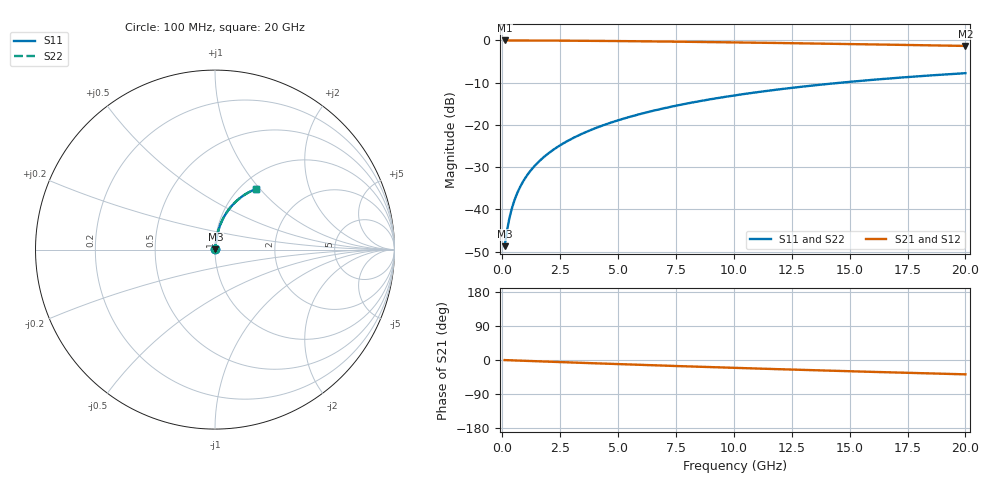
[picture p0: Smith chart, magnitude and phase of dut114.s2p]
! Touchstone file exported from HFSS 2024.1.0
!  File:  C:/UserFiles/LocalFiles/RDL_TSV_Batchsim/temp_RDL_top_114_1778683770.aedt
!  Generated:  10:51:35 PM May 13, 2026
!  Design:  RDL_top
!  Project:  temp_RDL_top_114_1778683770
!  Setup:  Setup1
!  Solution:  Sweep
! Variables:
!  dtsv = 10.80580581um
!  hbump = 3um
!  htsv = 86.73um
!  ldown = 100um
!  lrdl = 504.67um
!  p = 40
!  p1 = 47.87um
!  rhole = 1um
!  t = 450um
!  tdown = 3.915915916um
!  trdl = 4.8um
!  wdown = 15.38538539um
!  wrdl = 13.82um
# GHz S MA R 50.000000
! Terminal data exported
! Port[1] = Box2_T1
! Port[2] = Box2_T2
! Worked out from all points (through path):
!   200 points, 100 MHz to 20 GHz, reference 50 ohm
!   highest |S21| = -0.02 dB at 100 MHz (marker M1); lowest = -1.3 dB at 20 GHz (marker M2)
!   group delay of S21, straight-line fit = 5.25 ps
!   lowest |S11| = -48.7 dB at 100 MHz (marker M3), VSWR 1.01, Z = 50.3 + j0.239 ohm
!   |S11| at or under -10 dB: start of sweep to 14.66 GHz
!   |S22| runs from -48.7 to -7.8 dB; largest |S21 - S12| = 3.3e-15
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0.1  0.003659 40.6  0.9972 -0.2  0.9972 -0.2  0.003659 40.6
! Gamma 0 0 0 0
! Port Impedance 50 0 50 0
0.2  0.005526 59.4  0.9971 -0.5  0.9971 -0.5  0.005526 59.4
0.3  0.007681 68.1  0.997 -0.7  0.997 -0.7  0.007681 68.1
0.4  0.00993 72.8  0.9969 -0.9  0.9969 -0.9  0.00993 72.8
0.5  0.01221 75.6  0.9968 -1.1  0.9968 -1.1  0.01221 75.6
0.6  0.01451 77.5  0.9966 -1.3  0.9966 -1.3  0.01451 77.5
0.8  0.01909 79.7  0.9964 -1.8  0.9964 -1.8  0.01909 79.7
1.1  0.02592 81.2  0.9959 -2.4  0.9959 -2.4  0.02592 81.2
1.5  0.03495 82.1  0.9951 -3.3  0.9951 -3.3  0.03494 82.1
1.8  0.04167 82.3  0.9944 -4.0  0.9944 -4.0  0.04167 82.3
2.1  0.04838 82.4  0.9936 -4.6  0.9936 -4.6  0.04838 82.4
2.7  0.06177 82.2  0.9917 -5.9  0.9917 -5.9  0.06177 82.2
3.5  0.07963 81.6  0.9885 -7.7  0.9885 -7.7  0.07963 81.6
4.2  0.09525 80.8  0.9852 -9.1  0.9852 -9.1  0.09525 80.8
5  0.1131 79.8  0.9809 -10.8  0.9809 -10.8  0.1131 79.8
5.9  0.1331 78.6  0.9756 -12.7  0.9756 -12.7  0.1331 78.6
6.8  0.153 77.2  0.9697 -14.5  0.9697 -14.5  0.153 77.2
8.3  0.1858 74.9  0.9592 -17.4  0.9592 -17.4  0.1858 74.9
10.1  0.2244 72.0  0.9455 -20.9  0.9455 -20.9  0.2244 72.0
13.4  0.2919 66.5  0.9181 -26.9  0.9181 -26.9  0.2919 66.5
16.7  0.3536 61.1  0.889 -32.5  0.889 -32.5  0.3536 61.1
20  0.4087 55.8  0.8592 -37.9  0.8592 -37.9  0.4088 55.9
